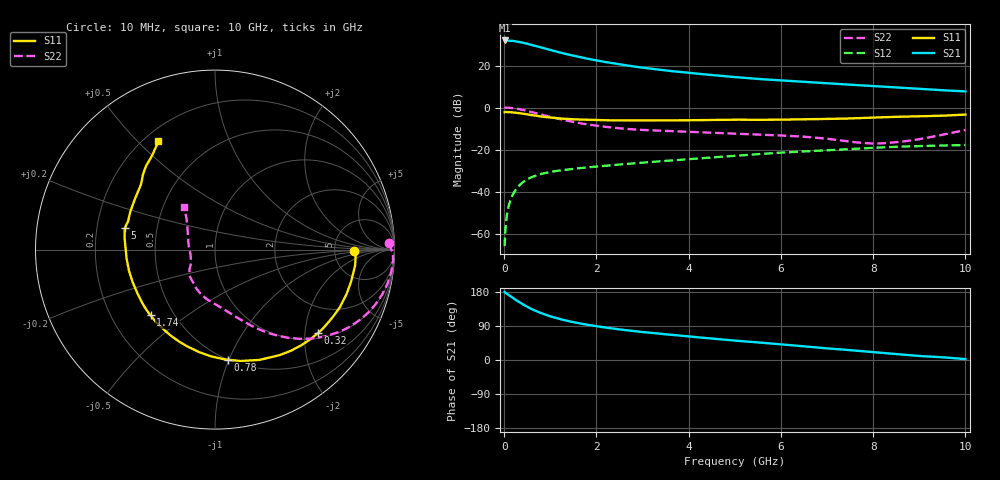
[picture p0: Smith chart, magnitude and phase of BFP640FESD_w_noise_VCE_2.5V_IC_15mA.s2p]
! Infineon Technologies  Discrete & RF Semiconductors
! BFP640FESD
! VCE =  2.5 V,  IC =  15 mA
! Common Emitter S-Parameters:  Jan 2016
# GHz  S  MA  R  50
!  f  S11  S21  S12  S22
! GHz  MAG  ANG  MAG  ANG  MAG  ANG  MAG  ANG
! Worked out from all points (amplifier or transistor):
!   233 points, 10 MHz to 10 GHz, reference 50 ohm
!   highest |S21| = 32.0 dB at 10 MHz (marker M1)
!   |S21| within 3 dB of that: start of sweep to 742.7 MHz
!   unconditionally stable (mu >= 1): 4.67 GHz to end of sweep
!   at 200 MHz: K = 0.07, MSG = 36.3 dB, |S12| = -40.9 dB
!   at 1.74 GHz: K = 0.63, MSG = 26.1 dB, |S12| = -28.6 dB
!   at 10 GHz: K = 1.10, MAG = 10.9 dB, |S12| = -17.8 dB
!   lowest NFmin = 0.78 dB at 450 MHz
!   S11 on the Smith chart (normalised r, x): 10 MHz: 7.87, -0.32; 320 MHz: 1.14, -2.33; 780 MHz: 0.50, -0.99; 1.74 GHz: 0.37, -0.37; 5 GHz: 0.32, +0.11; 10 GHz: 0.26, +0.58
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0.01  0.7749 -0.6  39.64 179.7  0.0005 120.7  0.9703 2.1
0.02  0.7841 -2.3  39.5 178.0  0.0009 96.5  0.991 -1.2
0.1  0.78 -12.6  39.43 171.6  0.0046 82.6  0.9903 -7.2
0.15  0.7736 -18.9  39.08 167.2  0.0068 80.9  0.9799 -11.1
0.24  0.7561 -29.7  37.91 159.5  0.0106 75.8  0.9517 -17.5
0.32  0.7378 -39.2  36.66 153.3  0.0137 71.8  0.9188 -22.9
0.4  0.7178 -48.0  35.17 147.3  0.0165 67.9  0.8815 -27.8
0.5  0.6895 -58.5  33.1 140.4  0.0196 63.7  0.8308 -33.5
0.6  0.6628 -68.0  30.99 134.1  0.0221 60.1  0.7791 -38.4
0.78  0.6181 -83.2  27.33 124.8  0.0258 55.2  0.6918 -45.9
1  0.5775 -99.0  23.49 115.3  0.0293 51.1  0.6 -53.4
1.2  0.5507 -111.1  20.62 108.3  0.0317 48.9  0.5316 -59.0
1.4  0.5319 -121.1  18.21 102.4  0.0338 47.5  0.4763 -63.9
1.68  0.5154 -132.4  15.59 95.6  0.0365 46.5  0.4181 -69.7
1.74  0.5129 -134.4  15.1 94.3  0.037 46.5  0.4081 -70.8
2.38  0.4946 -152.8  11.25 82.6  0.0428 46.3  0.3309 -82.7
3.4  0.494 -172.7  7.879 69.1  0.0527 46.8  0.2813 -98.6
5  0.5165 166.6  5.318 51.0  0.0707 45.2  0.2387 -116.4
5.1  0.5148 165.7  5.212 50.2  0.0721 45.2  0.2365 -116.9
6.8  0.531 145.9  3.896 32.9  0.0933 39.2  0.1893 -138.7
8.4  0.5973 130.7  3.061 16.5  0.1153 32.0  0.1462 173.8
10  0.6814 117.6  2.426 2.4  0.1281 22.3  0.2921 125.9
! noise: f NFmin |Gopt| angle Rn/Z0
0.45  0.78  0.07  1  0.09
2.4  0.82  0.04  141  0.09
5.5  1.04  0.25  172  0.08
10  1.62  0.44  -113  0.24
